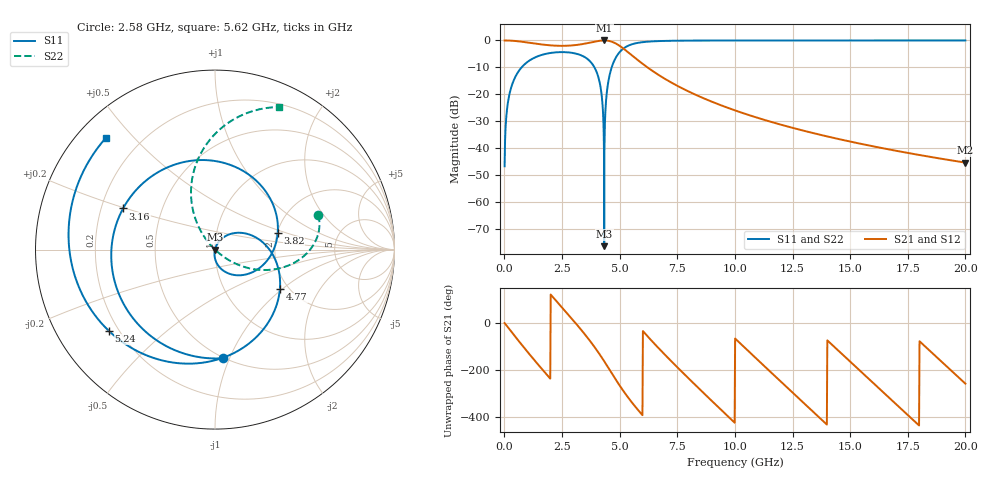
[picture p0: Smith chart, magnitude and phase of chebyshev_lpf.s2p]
! NCU EE8091 HW2: supplied Chebyshev LPF S-parameter numerical data.
! Original numerical records retained; export comments replaced for anonymity.
# GHZ S MA R 50.000000
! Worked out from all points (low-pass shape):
!   2000 points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, 10 MHz to 20 GHz, reference 50 ohm
!   highest |S21| = 0.00 dB at 4.33 GHz (marker M1); lowest = -45.4 dB at 20 GHz (marker M2)
!   |S21| within 3 dB of the highest: start of sweep to 5.162 GHz
!   lowest |S11| = -76.5 dB at 4.33 GHz (marker M3), VSWR 1.00, Z = 50 - j0.0146 ohm
!   |S11| at or under -10 dB: start of sweep to 748.9 MHz; 3.907 GHz to 4.656 GHz (748.9 MHz wide, 17.5 % of centre)
!   |S22| runs from -76.5 to 0.0 dB; largest |S21 - S12| = 0
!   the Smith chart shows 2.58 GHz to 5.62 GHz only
!   S11 on the Smith chart (normalised r, x): 2.58 GHz: 0.49, -0.94; 3.16 GHz: 0.29, +0.20; 3.82 GHz: 2.01, +0.44; 4.77 GHz: 1.80, -0.97; 5.24 GHz: 0.16, -0.33; 5.62 GHz: 0.08, +0.42
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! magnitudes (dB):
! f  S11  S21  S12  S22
! 10 MHz  -46.8  0.0  0.0  -46.8
! 200 MHz  -20.8  0.0  0.0  -20.8
! 580 MHz  -11.9  -0.3  -0.3  -11.9
! 1.36 GHz  -6.2  -1.2  -1.2  -6.2
! 2.58 GHz  -4.3  -2.0  -2.0  -4.3
! 3.16 GHz  -5.0  -1.6  -1.6  -5.0
! 3.35 GHz  -5.6  -1.4  -1.4  -5.6
! 3.82 GHz  -8.8  -0.6  -0.6  -8.8
! 4.12 GHz  -15.1  -0.1  -0.1  -15.1
! 4.2 GHz  -18.9  -0.1  -0.1  -18.9
! 4.26 GHz  -24.1  0.0  0.0  -24.1
! 4.33 GHz  -76.5  0.0  0.0  -76.5
! 4.4 GHz  -23.7  0.0  0.0  -23.7
! 4.53 GHz  -14.3  -0.2  -0.2  -14.3
! 4.77 GHz  -7.5  -0.9  -0.9  -7.5
! 5.24 GHz  -2.6  -3.5  -3.5  -2.6
! 5.62 GHz  -1.2  -6.1  -6.1  -1.2
! 6.68 GHz  -0.2  -12.8  -12.8  -0.2
! 10.01 GHz  0.0  -26.0  -26.0  0.0
! 13.34 GHz  0.0  -34.3  -34.3  0.0
! 16.67 GHz  0.0  -40.5  -40.5  0.0
! 20 GHz  0.0  -45.4  -45.4  0.0
